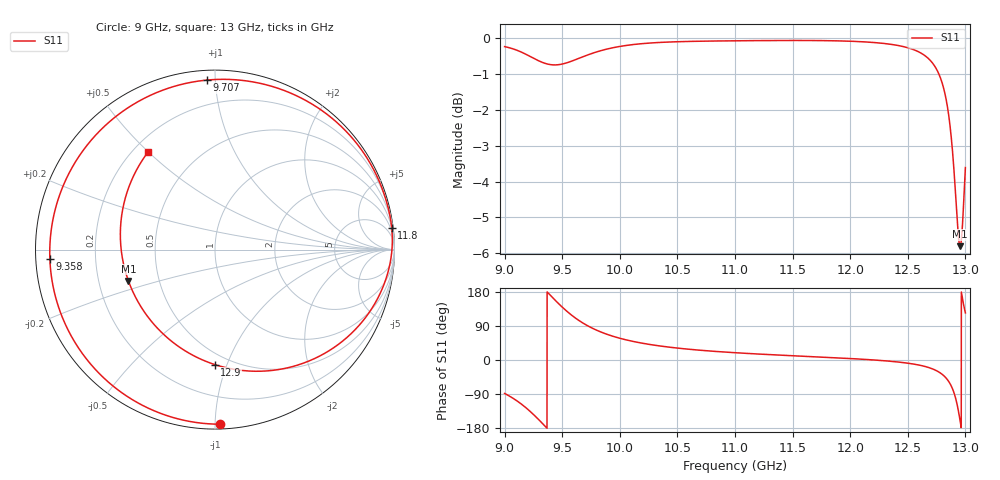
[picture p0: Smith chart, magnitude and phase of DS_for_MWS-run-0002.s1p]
! TOUCHSTONE file generated by CST DESIGN STUDIO
! Date and time: Tue Feb  4 16:43:43 2025
! Project name: C:\Work\MatlabApps\UnitCellOptimizationMatlab\CST\unitcell.cst
! Tree item: Tasks\Sweep1\SPara1\S-Parameters
! Header version: 2024
! Port assignment regex: !\s*Touchstone port\s*([0-9]+)\s*=\s*(CST MWS port|CST DES external port|CST DES block port)\s*(.+)\s* \(\"(.*)\"\)(\s*mode\s*([0-9]+))?.*
! Touchstone port assignment:
! Touchstone port 1 = CST DES external port 1 ("")
# GHz S MA R 50
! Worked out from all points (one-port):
!   4001 points, 9 GHz to 13 GHz, reference 50 ohm
!   lowest |S11| = -5.8 dB at 12.95 GHz (marker M1), VSWR 3.11, Z = 16.5 - j7.83 ohm
!   |S11| at or under -10 dB: nowhere
!   S11 on the Smith chart (normalised r, x): 9 GHz: 0.03, -1.03; 9.358 GHz: 0.04, -0.03; 9.707 GHz: 0.05, +0.95; 11.8 GHz: 1, +16; 12.9 GHz: 0.42, -0.91; 13 GHz: 0.26, +0.50
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9  0.9731 -88.2
9.099  0.963 -106.2
9.183  0.9499 -125.5
9.28  0.9325 -152.5
9.358  0.9215 -176.8
9.425  0.9176 162.0
9.5  0.9202 139.6
9.597  0.9308 114.7
9.707  0.9456 92.7
9.846  0.9616 72.6
10  0.9737 57.4
10.216  0.9832 43.2
10.5  0.9885 31.4
11  0.9915 19.2
11.5  0.9926 11.2
11.799  0.9919 6.9
12  0.9901 3.8
12.5  0.9697 -8.4
12.673  0.9385 -19.1
12.777  0.8855 -33.1
12.847  0.7969 -53.2
12.88  0.7199 -70.3
12.905  0.6403 -90.2
12.929  0.5579 -118.5
12.954  0.5129 -160.1
12.973  0.5438 165.0
12.987  0.5987 142.1
13  0.6602 124.2
